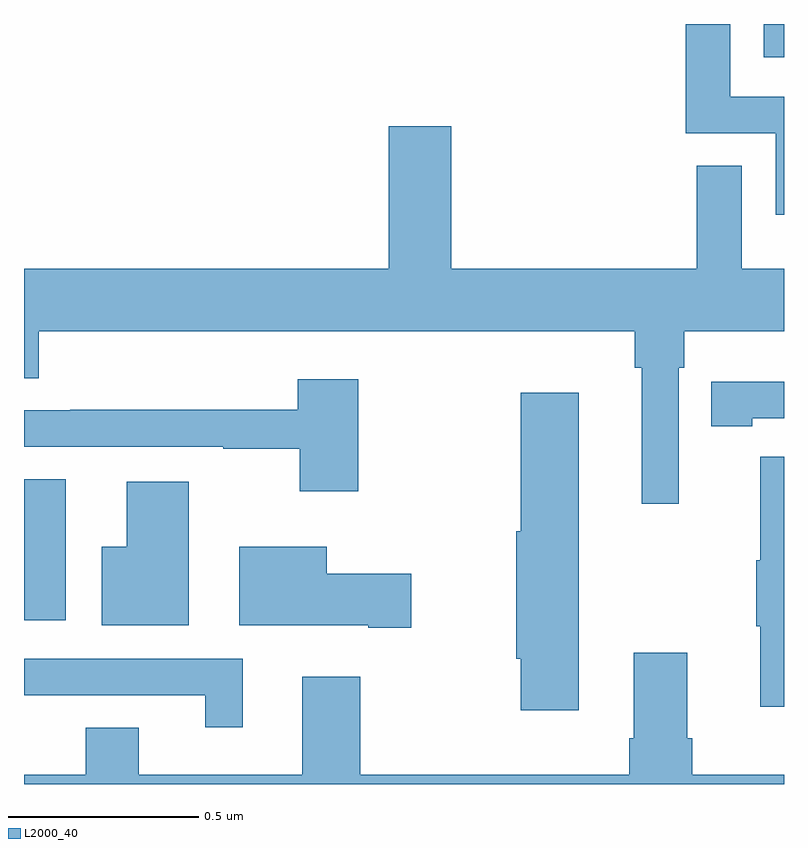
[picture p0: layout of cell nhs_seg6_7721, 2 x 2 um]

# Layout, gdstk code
import gdstk
lib = gdstk.Library(unit=1e-6, precision=1e-09)
def R(c, l, rs):  # rectangles x0, y0, x1, y1
    for r in rs: c.add(gdstk.rectangle(r[:2], r[2:], *l))
def P(c, l, *ps):  # polygons
    for p in ps: c.add(gdstk.Polygon(p, *l))
L2000_40 = (2000, 40)

nhs_seg6_7721 = lib.new_cell('nhs_seg6_7721')
R(nhs_seg6_7721, L2000_40, [(212,923.931,212.11,924.302), (213.947,925.413,214,925.5)])
P(nhs_seg6_7721, L2000_40, [(214,925.308),(213.859,925.308),(213.859,925.5),(213.741,925.5),(213.741,925.212),(213.978,925.212),(213.978,924.998),(214,924.998)],
  [(213.723,924.596),(213.737,924.596),(213.737,924.692),(214,924.692),(214,924.856),(213.889,924.856),(213.889,925.127),(213.771,925.127),(213.771,924.856),(213.124,924.856),(213.124,925.231),(212.96,925.231),(212.96,924.856),(212,924.856),(212,924.568),(212.039,924.568),(212.039,924.692),(213.607,924.692),(213.607,924.596),(213.626,924.596),(213.626,924.237),(213.723,924.237)],
  [(212.88,924.565),(212.72,924.565),(212.72,924.485),(212.122,924.485),(212.122,924.483),(212,924.483),(212,924.387),(212.524,924.387),(212.524,924.382),(212.725,924.382),(212.725,924.27),(212.88,924.27)],
  [(213.916,924.462),(214,924.462),(214,924.559),(213.916,924.559),(213.916,924.558),(213.808,924.558),(213.808,924.442),(213.916,924.442)],
  [(213.46,924.529),(213.307,924.529),(213.307,924.165),(213.296,924.165),(213.296,923.829),(213.307,923.829),(213.307,923.694),(213.46,923.694)],
  [(214,924.361),(213.938,924.361),(213.938,924.089),(213.927,924.089),(213.927,923.915),(213.938,923.915),(213.938,923.703),(214,923.703)],
  [(212.434,924.295),(212.27,924.295),(212.27,924.124),(212.204,924.124),(212.204,923.918),(212.434,923.918)],
  [(213.019,924.053),(212.797,924.053),(212.797,924.124),(212.567,924.124),(212.567,923.918),(212.906,923.918),(212.906,923.911),(213.019,923.911)],
  [(214,923.524),(213.758,923.524),(213.758,923.62),(213.745,923.62),(213.745,923.845),(213.605,923.845),(213.605,923.62),(213.593,923.62),(213.593,923.524),(212.885,923.524),(212.885,923.782),(212.732,923.782),(212.732,923.524),(212.302,923.524),(212.302,923.648),(212.162,923.648),(212.162,923.524),(212,923.524),(212,923.5),(214,923.5)],
  [(212.575,923.829),(212,923.829),(212,923.733),(212.477,923.733),(212.477,923.649),(212.575,923.649)])

lib.write_gds('nhs_seg6_7721.gds')
